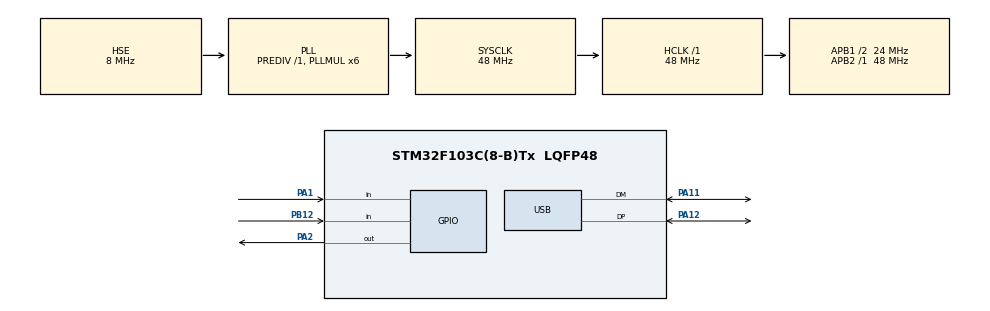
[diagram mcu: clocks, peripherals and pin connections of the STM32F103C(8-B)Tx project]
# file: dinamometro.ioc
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Mcu.Family=STM32F1
Mcu.Name=STM32F103C(8-B)Tx
Mcu.Package=LQFP48
NVIC.PriorityGroup=NVIC_PRIORITYGROUP_4
NVIC.TIM1_UP_IRQn=true\:0\:0\:false\:false\:true\:true\:true\:true
NVIC.USB_LP_CAN1_RX0_IRQn=true\:0\:0\:false\:false\:true\:false\:true\:true
PA1.Signal=GPIO_Input
PA11.Mode=Device
PA11.Signal=USB_DM
PA12.Mode=Device
PA12.Signal=USB_DP
PA13.Mode=Serial_Wire
PA13.Signal=SYS_JTMS-SWDIO
PA14.Mode=Serial_Wire
PA14.Signal=SYS_JTCK-SWCLK
PA2.Signal=GPIO_Output
PB12.Signal=GPIO_Input
PD0-OSC_IN.Mode=HSE-External-Oscillator
PD0-OSC_IN.Signal=RCC_OSC_IN
PD1-OSC_OUT.Mode=HSE-External-Oscillator
PD1-OSC_OUT.Signal=RCC_OSC_OUT
ProjectManager.HeapSize=0x200
ProjectManager.StackSize=0x400
ProjectManager.TargetToolchain=STM32CubeIDE
RCC.AHBFreq_Value=48000000
RCC.APB1CLKDivider=RCC_HCLK_DIV2
RCC.APB1Freq_Value=24000000
RCC.APB1TimFreq_Value=48000000
RCC.APB2Freq_Value=48000000
RCC.APB2TimFreq_Value=48000000
RCC.HCLKFreq_Value=48000000
RCC.PLLMUL=RCC_PLL_MUL6
RCC.PLLSourceVirtual=RCC_PLLSOURCE_HSE
RCC.SYSCLKFreq_VALUE=48000000
RCC.SYSCLKSource=RCC_SYSCLKSOURCE_PLLCLK
RCC.USBFreq_Value=48000000
TIM1.ClockDivision=TIM_CLOCKDIVISION_DIV4
TIM1.Period=18000
TIM2.Prescaler=72-1
USB_DEVICE.CLASS_NAME_FS=CDC
USB_DEVICE.VirtualMode=Cdc
USB_DEVICE.VirtualModeFS=Cdc_FS
VP_TIM1_VS_ClockSourceINT.Mode=Internal
VP_TIM2_VS_ClockSourceINT.Mode=Internal
VP_USB_DEVICE_VS_USB_DEVICE_CDC_FS.Mode=CDC_FS
board=custom

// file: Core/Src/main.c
/* USER CODE BEGIN Header */
/**
  ******************************************************************************
  * @file           : main.c
  * @brief          : Main program body
  ******************************************************************************
  * @attention
  *
  * Copyright (c) 2025 STMicroelectronics.
  * All rights reserved.
  *
  * This software is licensed under terms that can be found in the LICENSE file
  * in the root directory of this software component.
  * If no LICENSE file comes with this software, it is provided AS-IS.
  *
  ******************************************************************************
  */

/*
 * Frequencia de amostragem do photo enconder = 1kHz
 * */

/* USER CODE END Header */
#include "main.h"
#include "usb_device.h"

/* USER CODE BEGIN Includes */
#include "hx711.h"
#include "usbd_cdc_if.h"
#include "string.h"
/* USER CODE END Includes */

/* USER CODE BEGIN PTD */
typedef union {
    float floatData;
    uint8_t binData[4];
} float_union_t;
/* USER CODE END PTD */

/* USER CODE BEGIN PD */
#define PULSES_PER_ROTATION 8.0f
#define RPS_TO_RPM 60
#define MS_TO_S 0.001f
/* USER CODE END PD */

TIM_HandleTypeDef htim1;
TIM_HandleTypeDef htim2;

/* USER CODE BEGIN PV */
volatile uint8_t currentEncoderState = 0;
volatile uint8_t previousEncoderState = 0;
volatile uint8_t encoderPulses = 0;
volatile uint16_t icCount = 0;
volatile float rpm = 0;
volatile float rotationPerSecond = 0;

hx711_t loadcell;
float weight;
/* USER CODE END PV */

void SystemClock_Config(void);
static void MX_GPIO_Init(void);
static void MX_TIM1_Init(void);
static void MX_TIM2_Init(void);

/* USER CODE BEGIN 0 */
void HAL_TIM_PeriodElapsedCallback(TIM_HandleTypeDef *htim)
{
	icCount++;

	currentEncoderState = HAL_GPIO_ReadPin(GPIOB, GPIO_PIN_13);

	if(previousEncoderState == 1 && currentEncoderState == 0)
	{
		encoderPulses++;
	}
	previousEncoderState = currentEncoderState;

	if(icCount >= 500) // a cada 500 interrupção de tempo em um timer de 1kHz vai ser 0.5s
	{
		float timeElapsed = icCount * MS_TO_S;
		float aux = ((float)encoderPulses/PULSES_PER_ROTATION);
		rotationPerSecond = aux/timeElapsed;

		rpm = rotationPerSecond * RPS_TO_RPM;

		icCount = 0;
		encoderPulses = 0;
	}
}
/* USER CODE END 0 */

int main(void)
{

  /* MCU Configuration--------------------------------------------------------*/

  /* Reset of all peripherals, Initializes the Flash interface and the Systick. */
  HAL_Init();

  /* Configure the system clock */
  SystemClock_Config();

  /* Initialize all configured peripherals */
  MX_GPIO_Init();
  MX_TIM1_Init();
  MX_TIM2_Init();
  MX_USB_DEVICE_Init();
  /* USER CODE BEGIN 2 */
  HAL_TIM_Base_Start_IT(&htim1); // liga o timer do photo encoder
  HAL_TIM_Base_Start(&htim2); // liga o timer do photo encoder

  hx711_init(&loadcell, GPIOA, GPIO_PIN_1, GPIOA, GPIO_PIN_2);
    hx711_coef_set(&loadcell, 36057.14); // read afer calibration  36057.14
    hx711_tare(&loadcell, 10);
  /* USER CODE END 2 */

  /* Infinite loop */
  /* USER CODE BEGIN WHILE */
  while (1)
  {
	  weight = hx711_weight(&loadcell, 10);
    /* USER CODE END WHILE */

    /* USER CODE BEGIN 3 */
	  uint8_t tx_buffer[8]; // 4 bytes para weight + 4 bytes para rpm
	  float_union_t weight_union, rpm_union;

	  weight_union.floatData = weight;
	  rpm_union.floatData = rpm;

	  memcpy(&tx_buffer[0], weight_union.binData, 4);
	  memcpy(&tx_buffer[4], rpm_union.binData, 4);

	  CDC_Transmit_FS(tx_buffer, 8);
	  HAL_Delay(100);
  }
  /* USER CODE END 3 */
}

void SystemClock_Config(void)
{
  RCC_OscInitTypeDef RCC_OscInitStruct = {0};
  RCC_ClkInitTypeDef RCC_ClkInitStruct = {0};
  RCC_PeriphCLKInitTypeDef PeriphClkInit = {0};

  /** Initializes the RCC Oscillators according to the specified parameters
  * in the RCC_OscInitTypeDef structure.
  */
  RCC_OscInitStruct.OscillatorType = RCC_OSCILLATORTYPE_HSE;
  RCC_OscInitStruct.HSEState = RCC_HSE_ON;
  RCC_OscInitStruct.HSEPredivValue = RCC_HSE_PREDIV_DIV1;
  RCC_OscInitStruct.HSIState = RCC_HSI_ON;
  RCC_OscInitStruct.PLL.PLLState = RCC_PLL_ON;
  RCC_OscInitStruct.PLL.PLLSource = RCC_PLLSOURCE_HSE;
  RCC_OscInitStruct.PLL.PLLMUL = RCC_PLL_MUL6;
  if (HAL_RCC_OscConfig(&RCC_OscInitStruct) != HAL_OK)
  {
    Error_Handler();
  }

  /** Initializes the CPU, AHB and APB buses clocks
  */
  RCC_ClkInitStruct.ClockType = RCC_CLOCKTYPE_HCLK|RCC_CLOCKTYPE_SYSCLK
                              |RCC_CLOCKTYPE_PCLK1|RCC_CLOCKTYPE_PCLK2;
  RCC_ClkInitStruct.SYSCLKSource = RCC_SYSCLKSOURCE_PLLCLK;
  RCC_ClkInitStruct.AHBCLKDivider = RCC_SYSCLK_DIV1;
  RCC_ClkInitStruct.APB1CLKDivider = RCC_HCLK_DIV2;
  RCC_ClkInitStruct.APB2CLKDivider = RCC_HCLK_DIV1;

  if (HAL_RCC_ClockConfig(&RCC_ClkInitStruct, FLASH_LATENCY_1) != HAL_OK)
  {
    Error_Handler();
  }
  PeriphClkInit.PeriphClockSelection = RCC_PERIPHCLK_USB;
  PeriphClkInit.UsbClockSelection = RCC_USBCLKSOURCE_PLL;
  if (HAL_RCCEx_PeriphCLKConfig(&PeriphClkInit) != HAL_OK)
  {
    Error_Handler();
  }
}

static void MX_TIM1_Init(void)
{

  TIM_ClockConfigTypeDef sClockSourceConfig = {0};
  TIM_MasterConfigTypeDef sMasterConfig = {0};

  htim1.Instance = TIM1;
  htim1.Init.Prescaler = 0;
  htim1.Init.CounterMode = TIM_COUNTERMODE_UP;
  htim1.Init.Period = 18000;
  htim1.Init.ClockDivision = TIM_CLOCKDIVISION_DIV4;
  htim1.Init.RepetitionCounter = 0;
  htim1.Init.AutoReloadPreload = TIM_AUTORELOAD_PRELOAD_DISABLE;
  if (HAL_TIM_Base_Init(&htim1) != HAL_OK)
  {
    Error_Handler();
  }
  sClockSourceConfig.ClockSource = TIM_CLOCKSOURCE_INTERNAL;
  if (HAL_TIM_ConfigClockSource(&htim1, &sClockSourceConfig) != HAL_OK)
  {
    Error_Handler();
  }
  sMasterConfig.MasterOutputTrigger = TIM_TRGO_RESET;
  sMasterConfig.MasterSlaveMode = TIM_MASTERSLAVEMODE_DISABLE;
  if (HAL_TIMEx_MasterConfigSynchronization(&htim1, &sMasterConfig) != HAL_OK)
  {
    Error_Handler();
  }

}

static void MX_TIM2_Init(void)
{

  TIM_ClockConfigTypeDef sClockSourceConfig = {0};
  TIM_MasterConfigTypeDef sMasterConfig = {0};

  htim2.Instance = TIM2;
  htim2.Init.Prescaler = 72-1;
  htim2.Init.CounterMode = TIM_COUNTERMODE_UP;
  htim2.Init.Period = 65535;
  htim2.Init.ClockDivision = TIM_CLOCKDIVISION_DIV1;
  htim2.Init.AutoReloadPreload = TIM_AUTORELOAD_PRELOAD_DISABLE;
  if (HAL_TIM_Base_Init(&htim2) != HAL_OK)
  {
    Error_Handler();
  }
  sClockSourceConfig.ClockSource = TIM_CLOCKSOURCE_INTERNAL;
  if (HAL_TIM_ConfigClockSource(&htim2, &sClockSourceConfig) != HAL_OK)
  {
    Error_Handler();
  }
  sMasterConfig.MasterOutputTrigger = TIM_TRGO_RESET;
  sMasterConfig.MasterSlaveMode = TIM_MASTERSLAVEMODE_DISABLE;
  if (HAL_TIMEx_MasterConfigSynchronization(&htim2, &sMasterConfig) != HAL_OK)
  {
    Error_Handler();
  }

}

static void MX_GPIO_Init(void)
{
  GPIO_InitTypeDef GPIO_InitStruct = {0};

  /* GPIO Ports Clock Enable */
  __HAL_RCC_GPIOD_CLK_ENABLE();
  __HAL_RCC_GPIOA_CLK_ENABLE();
  __HAL_RCC_GPIOB_CLK_ENABLE();

  /*Configure GPIO pin Output Level */
  HAL_GPIO_WritePin(GPIOA, GPIO_PIN_2, GPIO_PIN_RESET);

  /*Configure GPIO pin : PA1 */
  GPIO_InitStruct.Pin = GPIO_PIN_1;
  GPIO_InitStruct.Mode = GPIO_MODE_INPUT;
  GPIO_InitStruct.Pull = GPIO_NOPULL;
  HAL_GPIO_Init(GPIOA, &GPIO_InitStruct);

  /*Configure GPIO pin : PA2 */
  GPIO_InitStruct.Pin = GPIO_PIN_2;
  GPIO_InitStruct.Mode = GPIO_MODE_OUTPUT_PP;
  GPIO_InitStruct.Pull = GPIO_NOPULL;
  GPIO_InitStruct.Speed = GPIO_SPEED_FREQ_LOW;
  HAL_GPIO_Init(GPIOA, &GPIO_InitStruct);

  /*Configure GPIO pin : PB12 */
  GPIO_InitStruct.Pin = GPIO_PIN_12;
  GPIO_InitStruct.Mode = GPIO_MODE_INPUT;
  GPIO_InitStruct.Pull = GPIO_NOPULL;
  HAL_GPIO_Init(GPIOB, &GPIO_InitStruct);

}

void Error_Handler(void)
{
  __disable_irq();
  while (1)
  {
  }
}
